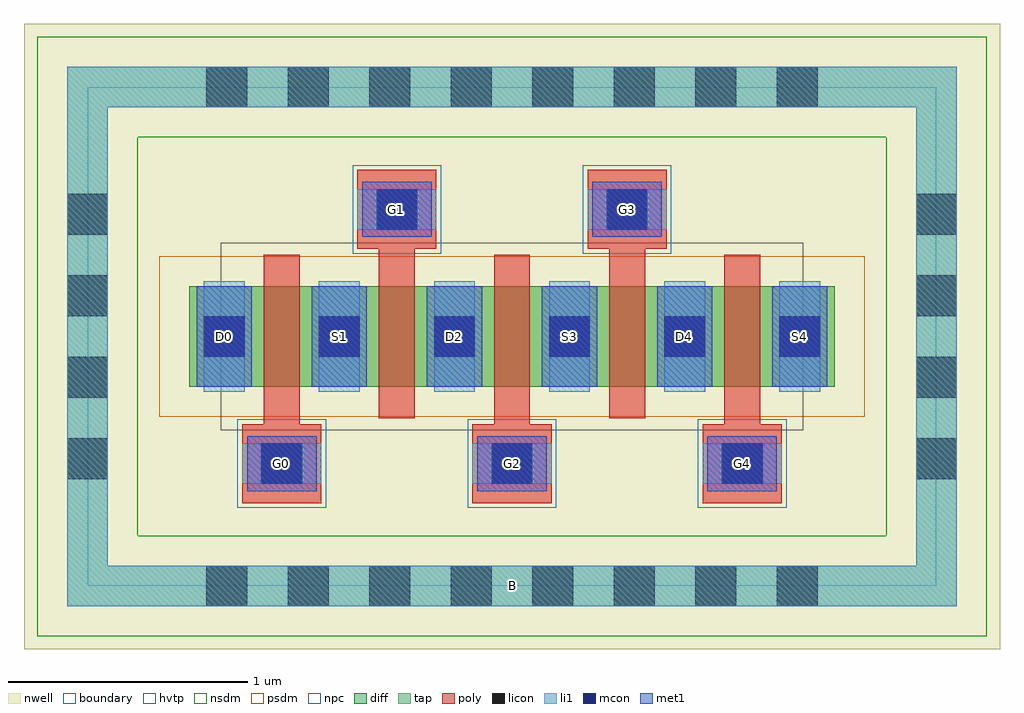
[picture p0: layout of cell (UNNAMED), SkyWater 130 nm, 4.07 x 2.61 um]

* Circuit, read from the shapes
.subckt (UNNAMED) B D0 D2 D4 G0 G1 G2 G3 G4 S1 S3 S4
XM1 S1 G0 D0 B sky130_fd_pr__pfet_01v8_hvt w=0.42 l=0.15
XM2 D2 G1 S1 B sky130_fd_pr__pfet_01v8_hvt w=0.42 l=0.15
XM3 S3 G2 D2 B sky130_fd_pr__pfet_01v8_hvt w=0.42 l=0.15
XM4 D4 G3 S3 B sky130_fd_pr__pfet_01v8_hvt w=0.42 l=0.15
XM5 S4 G4 D4 B sky130_fd_pr__pfet_01v8_hvt w=0.42 l=0.15
.ends

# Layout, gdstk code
import gdstk
lib = gdstk.Library(unit=1e-6, precision=1e-09)
def R(c, l, rs):  # rectangles x0, y0, x1, y1
    for r in rs: c.add(gdstk.rectangle(r[:2], r[2:], *l))
def A(c, l, x, y, w, h, nx, ny, dx, dy):  # array of equal rectangles
    R(c, l, [(x+i*dx, y+j*dy, x+i*dx+w, y+j*dy+h) for i in range(nx) for j in range(ny)])
nwell = (64, 20)
diff = (65, 20)
tap = (65, 44)
poly = (66, 20)
licon = (66, 44)
li1 = (67, 20)
mcon = (67, 44)
met1 = (68, 20)
hvtp = (78, 44)
nsdm = (93, 44)
psdm = (94, 20)
npc = (95, 20)
boundary = (235, 4)

c__unnamed_ = lib.new_cell('(UNNAMED)')
R(c__unnamed_, nwell, [(-2.035,-1.305,2.035,1.305)])
R(c__unnamed_, diff, [(-1.345,-0.21,1.345,0.21)])
R(c__unnamed_, tap, [(-1.855,-1.125,1.855,-0.955), (-1.855,-0.955,-1.685,0.955), (1.685,-0.955,1.855,0.955), (-1.855,0.955,1.855,1.125)])
A(c__unnamed_, poly, -1.125, -0.695, 0.33, 0.33, 3, 1, 0.96, 0)
A(c__unnamed_, poly, -1.035, -0.365, 0.15, 0.705, 3, 1, 0.96, 0)
R(c__unnamed_, poly, [(-0.555,-0.34,-0.405,0.365), (0.405,-0.34,0.555,0.365), (-0.645,0.365,-0.315,0.695), (0.315,0.365,0.645,0.695)])
A(c__unnamed_, licon, -1.275, -1.125, 0.17, 0.17, 8, 2, 0.34, 2.08)
A(c__unnamed_, licon, -1.045, -0.615, 0.17, 0.17, 3, 1, 0.96, 0)
A(c__unnamed_, licon, -1.855, -0.595, 0.17, 0.17, 1, 4, 0, 0.34)
A(c__unnamed_, licon, 1.685, -0.595, 0.17, 0.17, 1, 4, 0, 0.34)
A(c__unnamed_, licon, -1.285, -0.085, 0.17, 0.17, 6, 1, 0.48, 0)
R(c__unnamed_, licon, [(-0.565,0.445,-0.395,0.615), (0.395,0.445,0.565,0.615)])
A(c__unnamed_, li1, -1.125, -0.615, 0.33, 0.17, 3, 1, 0.96, 0)
A(c__unnamed_, li1, -1.285, -0.23, 0.17, 0.46, 6, 1, 0.48, 0)
R(c__unnamed_, li1, [(-1.855,-1.125,1.855,-0.955), (-1.855,-0.955,-1.685,0.955), (1.685,-0.955,1.855,0.955), (-0.645,0.445,-0.315,0.615), (0.315,0.445,0.645,0.615), (-1.855,0.955,1.855,1.125)])
A(c__unnamed_, mcon, -1.045, -0.615, 0.17, 0.17, 3, 1, 0.96, 0)
A(c__unnamed_, mcon, -1.285, -0.085, 0.17, 0.17, 6, 1, 0.48, 0)
R(c__unnamed_, mcon, [(-0.565,0.445,-0.395,0.615), (0.395,0.445,0.565,0.615)])
A(c__unnamed_, met1, -1.105, -0.645, 0.29, 0.23, 3, 1, 0.96, 0)
A(c__unnamed_, met1, -1.315, -0.21, 0.23, 0.42, 6, 1, 0.48, 0)
R(c__unnamed_, met1, [(-0.625,0.415,-0.335,0.645), (0.335,0.415,0.625,0.645)])
R(c__unnamed_, hvtp, [(-1.215,-0.39,1.215,0.39)])
R(c__unnamed_, nsdm, [(-1.98,-1.25,1.98,-0.83), (-1.98,-0.83,-1.56,0.83), (1.56,-0.83,1.98,0.83), (-1.98,0.83,1.98,1.25)])
R(c__unnamed_, psdm, [(-1.47,-0.335,1.47,0.335)])
A(c__unnamed_, npc, -1.145, -0.715, 0.37, 0.37, 3, 1, 0.96, 0)
R(c__unnamed_, npc, [(-0.665,0.345,-0.295,0.715), (0.295,0.345,0.665,0.715)])
R(c__unnamed_, boundary, [(-1.77,-1.04,1.77,1.04)])
c__unnamed_.add(gdstk.Label('B', (0,-1.04), layer=67, texttype=5))
c__unnamed_.add(gdstk.Label('D0', (-1.2,0), layer=67, texttype=5))
c__unnamed_.add(gdstk.Label('G0', (-0.96,-0.53), layer=67, texttype=5))
c__unnamed_.add(gdstk.Label('S1', (-0.72,0), layer=67, texttype=5))
c__unnamed_.add(gdstk.Label('G1', (-0.48,0.53), layer=67, texttype=5))
c__unnamed_.add(gdstk.Label('D2', (-0.24,0), layer=67, texttype=5))
c__unnamed_.add(gdstk.Label('G2', (0,-0.53), layer=67, texttype=5))
c__unnamed_.add(gdstk.Label('S3', (0.24,0), layer=67, texttype=5))
c__unnamed_.add(gdstk.Label('G3', (0.48,0.53), layer=67, texttype=5))
c__unnamed_.add(gdstk.Label('D4', (0.72,0), layer=67, texttype=5))
c__unnamed_.add(gdstk.Label('S4', (1.2,0), layer=67, texttype=5))
c__unnamed_.add(gdstk.Label('G4', (0.96,-0.53), layer=67, texttype=5))

lib.write_gds('_UNNAMED_.gds')
